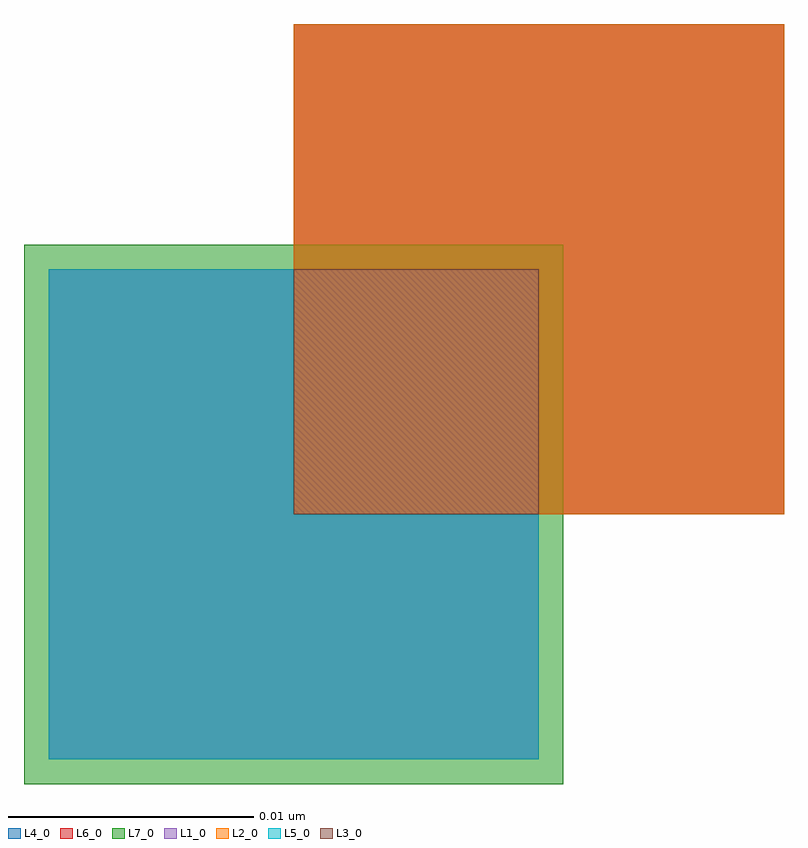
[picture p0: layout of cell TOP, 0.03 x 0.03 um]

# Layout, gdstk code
import gdstk
lib = gdstk.Library(unit=1e-6, precision=1e-09)
def R(c, l, rs):  # rectangles x0, y0, x1, y1
    for r in rs: c.add(gdstk.rectangle(r[:2], r[2:], *l))
def P(c, l, *ps):  # polygons
    for p in ps: c.add(gdstk.Polygon(p, *l))
L1_0 = (1, 0)
L2_0 = (2, 0)
L3_0 = (3, 0)
L4_0 = (4, 0)
L5_0 = (5, 0)
L6_0 = (6, 0)
L7_0 = (7, 0)

top = lib.new_cell('TOP')
R(top, L1_0, [(0,0,0.02,0.02)])
R(top, L2_0, [(0.01,0.01,0.03,0.03)])
R(top, L3_0, [(0.01,0.01,0.02,0.02)])
P(top, L4_0, [(0,0.02),(0.01,0.02),(0.01,0.03),(0.03,0.03),(0.03,0.01),(0.02,0.01),(0.02,0),(0,0)])
P(top, L5_0, [(0,0.02),(0.01,0.02),(0.01,0.01),(0.02,0.01),(0.02,0),(0,0)])
P(top, L6_0, [(0.01,0.03),(0.03,0.03),(0.03,0.01),(0.02,0.01),(0.02,0.02),(0.01,0.02)],
  [(0,0.02),(0.01,0.02),(0.01,0.01),(0.02,0.01),(0.02,0),(0,0)])
R(top, L7_0, [(-0.001,-0.001,0.021,0.021)])

lib.write_gds('TOP.gds')
